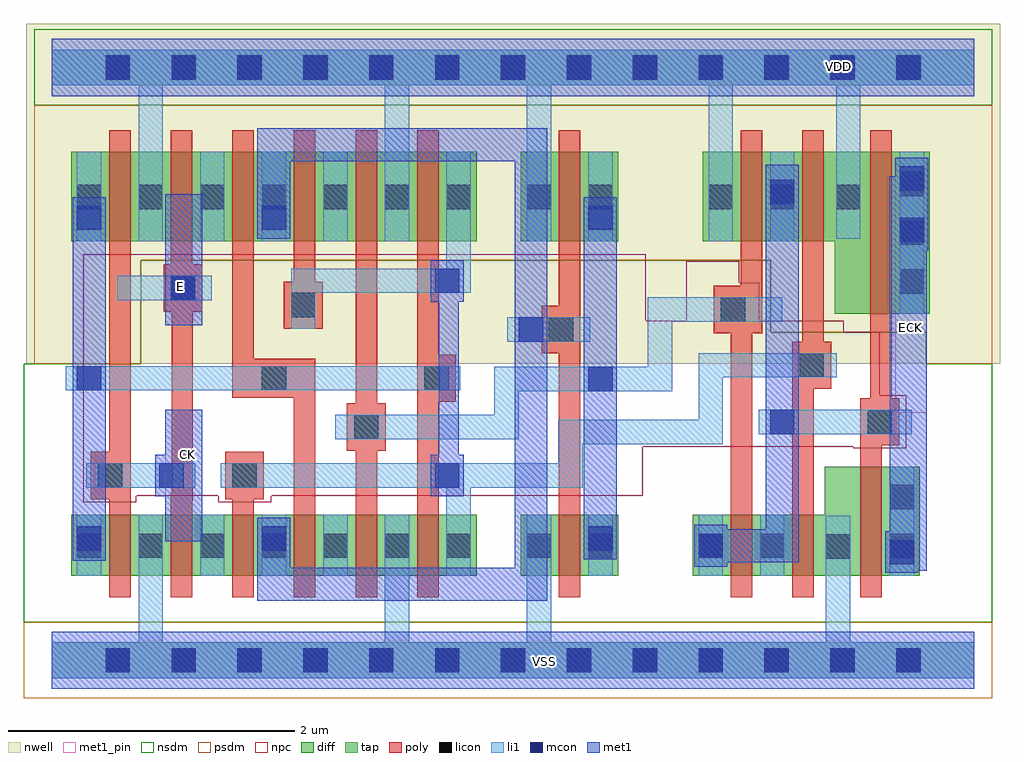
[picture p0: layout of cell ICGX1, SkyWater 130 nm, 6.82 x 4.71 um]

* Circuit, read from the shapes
.subckt ICGX1 CK E ECK VDD VSS
XM1 VSS CK n1 VSS sky130_fd_pr__nfet_01v8 w=0.425 l=0.15
XM2 n2 E VSS VSS sky130_fd_pr__nfet_01v8 w=0.425 l=0.15
XM3 n3 n4 n2 VSS sky130_fd_pr__nfet_01v8 w=0.425 l=0.15
XM4 n5 n1 n3 VSS sky130_fd_pr__nfet_01v8 w=0.425 l=0.15
XM5 VSS n6 n5 VSS sky130_fd_pr__nfet_01v8 w=0.425 l=0.15
XM6 n4 n1 VSS VSS sky130_fd_pr__nfet_01v8 w=0.425 l=0.15
XM7 n6 n3 VSS VSS sky130_fd_pr__nfet_01v8 w=0.425 l=0.15
XM8 n7 n6 n8 VSS sky130_fd_pr__nfet_01v8 w=0.425 l=0.15
XM9 VSS n4 n7 VSS sky130_fd_pr__nfet_01v8 w=0.425 l=0.15
XM10 ECK n8 VSS VSS sky130_fd_pr__nfet_01v8 w=0.76 l=0.15
XM11 VDD CK n1 VDD sky130_fd_pr__pfet_01v8 w=0.625 l=0.15
XM12 n9 E VDD VDD sky130_fd_pr__pfet_01v8 w=0.625 l=0.15
XM13 n3 n1 n9 VDD sky130_fd_pr__pfet_01v8 w=0.625 l=0.15
XM14 n10 n4 n3 VDD sky130_fd_pr__pfet_01v8 w=0.625 l=0.15
XM15 VDD n6 n10 VDD sky130_fd_pr__pfet_01v8 w=0.625 l=0.15
XM16 n4 n1 VDD VDD sky130_fd_pr__pfet_01v8 w=0.625 l=0.15
XM17 n6 n3 VDD VDD sky130_fd_pr__pfet_01v8 w=0.625 l=0.15
XM18 n8 n6 VDD VDD sky130_fd_pr__pfet_01v8 w=0.625 l=0.15
XM19 VDD n4 n8 VDD sky130_fd_pr__pfet_01v8 w=0.625 l=0.15
XM20 ECK n8 VDD VDD sky130_fd_pr__pfet_01v8 w=1.13 l=0.15
.ends

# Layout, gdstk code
from math import pi, radians
import gdstk
lib = gdstk.Library(unit=1e-6, precision=1e-09)
def R(c, l, rs):  # rectangles x0, y0, x1, y1
    for r in rs: c.add(gdstk.rectangle(r[:2], r[2:], *l))
def A(c, l, x, y, w, h, nx, ny, dx, dy):  # array of equal rectangles
    R(c, l, [(x+i*dx, y+j*dy, x+i*dx+w, y+j*dy+h) for i in range(nx) for j in range(ny)])
def P(c, l, *ps):  # polygons
    for p in ps: c.add(gdstk.Polygon(p, *l))
nwell = (64, 20)
diff = (65, 20)
tap = (65, 44)
poly = (66, 20)
licon = (66, 44)
li1 = (67, 20)
mcon = (67, 44)
met1_pin = (68, 16)
met1 = (68, 20)
nsdm = (93, 44)
psdm = (94, 20)
npc = (95, 20)

pyl1con_c_cdns_751554744 = lib.new_cell('PYL1CON_C_CDNS_751554744751')
R(pyl1con_c_cdns_751554744, poly, [(-0.135,-0.165,0.135,0.165)])
R(pyl1con_c_cdns_751554744, licon, [(-0.085,-0.085,0.085,0.085)])
R(pyl1con_c_cdns_751554744, npc, [(-0.185,-0.185,0.185,0.185)])

l1m1_c_cdns_751554744750 = lib.new_cell('L1M1_C_CDNS_751554744750')
R(l1m1_c_cdns_751554744750, li1, [(-0.165,-0.085,0.165,0.085)])
R(l1m1_c_cdns_751554744750, mcon, [(-0.085,-0.085,0.085,0.085)])
R(l1m1_c_cdns_751554744750, met1, [(-0.115,-0.145,0.115,0.145)])

l1m1_c_cdns_751554744752 = lib.new_cell('L1M1_C_CDNS_751554744752')
R(l1m1_c_cdns_751554744752, li1, [(-0.085,-0.345,0.085,0.345)])
R(l1m1_c_cdns_751554744752, mcon, [(-0.085,-0.265,0.085,-0.095), (-0.085,0.095,0.085,0.265)])
R(l1m1_c_cdns_751554744752, met1, [(-0.115,-0.325,0.115,0.325)])

l1m1_c_cdns_751554744753 = lib.new_cell('L1M1_C_CDNS_751554744753')
R(l1m1_c_cdns_751554744753, li1, [(-0.085,-0.165,0.085,0.165)])
R(l1m1_c_cdns_751554744753, mcon, [(-0.085,-0.085,0.085,0.085)])
R(l1m1_c_cdns_751554744753, met1, [(-0.115,-0.145,0.115,0.145)])

c_pyl1con_c_cdns_751554744 = lib.new_cell('PYL1CON_C_CDNS_751554744754')
R(c_pyl1con_c_cdns_751554744, poly, [(-0.135,-0.29,0.135,0.29)])
R(c_pyl1con_c_cdns_751554744, licon, [(-0.085,-0.085,0.085,0.085)])
R(c_pyl1con_c_cdns_751554744, npc, [(-0.185,-0.185,0.185,0.185)])

licondiff_c_cdns_7515547 = lib.new_cell('LICONDIFF_C_CDNS_751554744755')
R(licondiff_c_cdns_7515547, diff, [(-0.125,-0.145,0.125,0.145)])
R(licondiff_c_cdns_7515547, licon, [(-0.085,-0.085,0.085,0.085), (-0.085,-0.085,0.085,0.085)])

lilicon_c_cdns_751554744 = lib.new_cell('LILICON_C_CDNS_751554744756')
R(lilicon_c_cdns_751554744, licon, [(-0.085,-0.085,0.085,0.085), (-0.085,-0.085,0.085,0.085)])
R(lilicon_c_cdns_751554744, li1, [(-0.085,-0.165,0.085,0.165)])

icgx1 = lib.new_cell('ICGX1')
R(icgx1, nwell, [(-0.18,2.07,6.62,4.445)])
R(icgx1, diff, [(0.135,0.59,2.965,1.015), (3.275,0.59,3.955,1.015), (0.135,2.925,2.965,3.55), (3.275,2.925,3.955,3.55)])
P(icgx1, diff, [(6.06,1.35),(5.395,1.35),(5.395,1.015),(4.475,1.015),(4.475,0.59),(6.06,0.59)],
  [(6.13,3.55),(4.545,3.55),(4.545,2.925),(5.465,2.925),(5.465,2.42),(6.13,2.42)])
R(icgx1, poly, [(0.4,0.44,0.55,3.7), (1.26,0.44,1.41,1.165), (2.12,0.44,2.27,3.7), (2.55,0.44,2.7,3.7), (3.54,0.44,3.69,3.7), (1.69,2.51,1.84,3.7)])
P(icgx1, poly, [(0.985,2.78),(0.98,2.78),(0.98,3.7),(0.83,3.7),(0.83,2.725),(0.835,2.725),(0.835,1.165),(0.83,1.165),(0.83,0.44),(0.98,0.44),(0.98,1.11),(0.985,1.11)],
  [(1.84,2.045),(1.41,2.045),(1.41,3.7),(1.26,3.7),(1.26,1.895),(1.69,1.895),(1.69,0.44),(1.84,0.44)],
  [(4.96,3.7),(4.81,3.7),(4.81,2.615),(4.74,2.615),(4.74,0.44),(4.89,0.44),(4.89,2.285),(4.96,2.285)],
  [(5.39,3.7),(5.24,3.7),(5.24,2.18),(5.17,2.18),(5.17,0.44),(5.32,0.44),(5.32,2.025),(5.35,2.025),(5.39,2.065)],
  [(5.865,3.7),(5.715,3.7),(5.715,1.5),(5.645,1.5),(5.645,0.44),(5.795,0.44),(5.795,1.5),(5.865,1.5)])
A(icgx1, licon, 0.375, -0.085, 0.17, 0.17, 13, 2, 0.46, 4.14)
A(icgx1, licon, 0.175, 0.715, 0.17, 0.17, 7, 2, 0.43, 2.435)
A(icgx1, licon, 5.92, 2.56, 0.17, 0.17, 1, 3, 0, 0.34)
R(icgx1, licon, [(3.315,0.715,3.485,0.885), (3.745,0.715,3.915,0.885), (4.515,0.715,4.685,0.885), (4.945,0.715,5.115,0.885), (5.85,0.715,6.02,0.885), (5.85,1.055,6.02,1.225), (3.315,3.15,3.485,3.32), (3.745,3.15,3.915,3.32), (4.585,3.15,4.755,3.32), (5.015,3.15,5.185,3.32)])
A(icgx1, li1, 1.035, 0.59, 0.17, 0.425, 3, 1, 0.43, 0)
A(icgx1, li1, 1.035, 2.925, 0.17, 0.625, 3, 1, 0.43, 0)
R(icgx1, li1, [(0.175,0.59,0.345,1.015), (3.745,0.59,3.915,1.015), (4.515,0.59,4.685,1.015), (4.945,0.59,5.115,1.015), (5.85,0.59,6.02,1.35), (5.92,2.42,6.09,3.55), (0.175,2.925,0.345,3.55), (3.745,2.925,3.915,3.55), (5.015,2.925,5.185,3.55)])
P(icgx1, li1, [(5.48,2.145),(4.515,2.145),(4.515,1.68),(3.535,1.68),(3.535,1.375),(2.88,1.375),(2.88,1.29),(2.825,1.29),(2.825,1.375),(1.18,1.375),(1.18,1.205),(2.755,1.205),(2.755,0.59),(2.925,0.59),(2.925,1.205),(3.705,1.205),(3.705,1.51),(4.685,1.51),(4.685,1.975),(5.48,1.975)],
  [(6.44,4.265),(0,4.265),(0,4.015),(0.605,4.015),(0.605,2.925),(0.775,2.925),(0.775,4.015),(2.325,4.015),(2.325,2.925),(2.495,2.925),(2.495,4.015),(3.315,4.015),(3.315,2.925),(3.485,2.925),(3.485,4.015),(4.585,4.015),(4.585,2.925),(4.755,2.925),(4.755,4.015),(5.475,4.015),(5.475,2.945),(5.645,2.945),(5.645,4.015),(6.44,4.015)],
  [(6.44,0.125),(5.575,0.125),(5.575,1.01),(5.405,1.01),(5.405,0.125),(3.485,0.125),(3.485,1.015),(3.315,1.015),(3.315,0.125),(2.495,0.125),(2.495,1.015),(2.325,1.015),(2.325,0.125),(0.775,0.125),(0.775,1.015),(0.605,1.015),(0.605,0.125),(0,0.125),(0,-0.125),(6.44,-0.125)],
  [(2.925,3.55),(2.755,3.55),(2.755,2.735),(1.67,2.735),(1.67,2.315),(1.84,2.315),(1.84,2.565),(2.79,2.565),(2.79,2.65),(2.925,2.65)])
A(icgx1, mcon, 0.375, -0.085, 0.17, 0.17, 13, 2, 0.46, 4.14)
R(icgx1, met1_pin, [(0,-0.2,6.44,0.2), (0.79,0.83,1.05,1.75), (5.89,1.73,6.11,3.51), (0.79,2.34,1.05,3.255), (0,3.94,6.44,4.34)])
R(icgx1, met1, [(0.79,0.83,1.05,1.75), (0.79,2.34,1.05,3.255)])
P(icgx1, met1, [(6.11,3.38),(5.85,3.38),(5.85,0.885),(5.835,0.885),(5.835,0.625),(6.11,0.625)])
R(icgx1, nsdm, [(-0.125,3.875,6.565,4.405)])
P(icgx1, nsdm, [(6.565,2.07),(6.105,2.07),(6.105,2.29),(5.02,2.29),(5.02,2.795),(0.62,2.795),(0.62,2.07),(-0.195,2.07),(-0.195,0.265),(6.565,0.265)])
R(icgx1, psdm, [(-0.195,-0.265,6.565,0.265)])
P(icgx1, psdm, [(6.565,3.875),(-0.125,3.875),(-0.125,2.07),(0.62,2.07),(0.62,2.795),(5.02,2.795),(5.02,2.29),(6.105,2.29),(6.105,2.07),(6.565,2.07)])
P(icgx1, npc, [(5.78,2.295),(5.53,2.295),(5.53,2.37),(4.8,2.37),(4.8,2.785),(4.43,2.785),(4.43,2.37),(4.145,2.37),(4.145,2.835),(0.22,2.835),(0.22,1.15),(4.125,1.15),(4.125,1.49),(5.78,1.49)])
icgx1.add(gdstk.FlexPath([(3.345,2.31),(3.76,2.31)], 0.17, ends="flush", simple_path=True, layer=67, datatype=20))  # li1
icgx1.add(gdstk.FlexPath([(0.19,1.97),(2.85,1.97)], 0.17, ends="flush", simple_path=True, layer=67, datatype=20))  # li1
icgx1.add(gdstk.FlexPath([(5.1,2.45),(4.245,2.45),(4.245,1.965),(3.175,1.965),(3.175,1.63),(1.98,1.63)], 0.17, ends="flush", simple_path=True, layer=67, datatype=20))  # li1
icgx1.add(gdstk.FlexPath([(6.005,1.665),(5.135,1.665)], 0.17, ends="flush", simple_path=True, layer=67, datatype=20))  # li1
icgx1.add(gdstk.FlexPath([(0.24,1.29),(0.785,1.29)], 0.17, ends="flush", simple_path=True, layer=67, datatype=20))  # li1
icgx1.add(gdstk.FlexPath([(0.455,2.6),(1.115,2.6)], 0.17, ends="flush", simple_path=True, layer=67, datatype=20))  # li1
icgx1.add(gdstk.FlexPath([(0,4.14),(6.44,4.14)], 0.25, ends="flush", simple_path=True, layer=65, datatype=44))  # tap
icgx1.add(gdstk.FlexPath([(0,0),(6.44,0)], 0.25, ends="flush", simple_path=True, layer=65, datatype=44))  # tap
icgx1.add(gdstk.FlexPath([(0,0),(6.44,0)], 0.4, ends="flush", simple_path=True, layer=68, datatype=20))  # met1
icgx1.add(gdstk.FlexPath([(4.635,0.8),(5.1,0.8),(5.1,3.345)], 0.23, ends=(0, 0.115), simple_path=True, layer=68, datatype=20))  # met1
icgx1.add(gdstk.FlexPath([(0,4.14),(6.44,4.14)], 0.4, ends="flush", simple_path=True, layer=68, datatype=20))  # met1
icgx1.add(gdstk.FlexPath([(0.26,0.695),(0.26,3.225)], 0.23, ends="flush", simple_path=True, layer=68, datatype=20))  # met1
icgx1.add(gdstk.FlexPath([(3.83,0.705),(3.83,3.235)], 0.23, ends="flush", simple_path=True, layer=68, datatype=20))  # met1
icgx1.add(gdstk.FlexPath([(2.77,2.72),(2.77,1.225)], 0.14, ends="flush", simple_path=True, layer=68, datatype=20))  # met1
icgx1.add(gdstk.FlexPath([(1.55,3.09),(1.55,3.6),(3.345,3.6),(3.345,0.53),(1.55,0.53),(1.55,0.85)], 0.23, ends="flush", simple_path=True, layer=68, datatype=20))  # met1
icgx1.add(gdstk.Reference(pyl1con_c_cdns_751554744, (2.685,1.97)))
icgx1.add(gdstk.Reference(pyl1con_c_cdns_751554744, (1.345,1.29), x_reflection=True))
icgx1.add(gdstk.Reference(pyl1con_c_cdns_751554744, (5.305,2.06), rotation=pi, x_reflection=True))
icgx1.add(gdstk.Reference(pyl1con_c_cdns_751554744, (5.78,1.665)))
icgx1.add(gdstk.Reference(pyl1con_c_cdns_751554744, (4.755,2.45), rotation=pi, x_reflection=True))
icgx1.add(gdstk.Reference(pyl1con_c_cdns_751554744, (1.755,2.48), rotation=pi))
icgx1.add(gdstk.Reference(pyl1con_c_cdns_751554744, (0.915,2.6), x_reflection=True))
icgx1.add(gdstk.Reference(pyl1con_c_cdns_751554744, (0.405,1.29), rotation=pi))
icgx1.add(gdstk.Reference(pyl1con_c_cdns_751554744, (3.555,2.31), x_reflection=True))
icgx1.add(gdstk.Reference(pyl1con_c_cdns_751554744, (2.195,1.63), rotation=pi))
icgx1.add(gdstk.Reference(l1m1_c_cdns_751554744750, (5.1,1.665), rotation=pi, x_reflection=True))
icgx1.add(gdstk.Reference(l1m1_c_cdns_751554744750, (2.76,2.65)))
icgx1.add(gdstk.Reference(l1m1_c_cdns_751554744750, (3.83,1.965)))
icgx1.add(gdstk.Reference(l1m1_c_cdns_751554744750, (0.915,2.6), x_reflection=True))
icgx1.add(gdstk.Reference(l1m1_c_cdns_751554744750, (2.76,1.29)))
icgx1.add(gdstk.Reference(l1m1_c_cdns_751554744750, (0.835,1.29), x_reflection=True))
icgx1.add(gdstk.Reference(l1m1_c_cdns_751554744750, (0.26,1.97), rotation=pi, x_reflection=True))
icgx1.add(gdstk.Reference(l1m1_c_cdns_751554744750, (3.345,2.31)))
icgx1.add(gdstk.Reference(l1m1_c_cdns_751554744752, (6.005,3.185)))
icgx1.add(gdstk.Reference(l1m1_c_cdns_751554744753, (5.1,3.27)))
icgx1.add(gdstk.Reference(l1m1_c_cdns_751554744753, (5.935,0.755)))
icgx1.add(gdstk.Reference(l1m1_c_cdns_751554744753, (1.55,3.09), rotation=pi, x_reflection=True))
icgx1.add(gdstk.Reference(l1m1_c_cdns_751554744753, (1.55,0.85), rotation=pi, x_reflection=True))
icgx1.add(gdstk.Reference(l1m1_c_cdns_751554744753, (3.83,0.85), rotation=pi, x_reflection=True))
icgx1.add(gdstk.Reference(l1m1_c_cdns_751554744753, (3.83,3.09), rotation=pi, x_reflection=True))
icgx1.add(gdstk.Reference(l1m1_c_cdns_751554744753, (0.26,0.85), rotation=pi, x_reflection=True))
icgx1.add(gdstk.Reference(l1m1_c_cdns_751554744753, (0.26,3.09), rotation=pi, x_reflection=True))
icgx1.add(gdstk.Reference(l1m1_c_cdns_751554744753, (4.6,0.8)))
icgx1.add(gdstk.Reference(c_pyl1con_c_cdns_751554744, (1.55,1.97), rotation=pi/2, x_reflection=True))
icgx1.add(gdstk.Reference(licondiff_c_cdns_7515547, (5.56,3.235)))
icgx1.add(gdstk.Reference(licondiff_c_cdns_7515547, (5.49,0.795)))
icgx1.add(gdstk.Reference(licondiff_c_cdns_7515547, (4.6,0.8)))
icgx1.add(gdstk.Reference(lilicon_c_cdns_751554744, (5.78,1.665), rotation=pi/2))
icgx1.add(gdstk.Label('ECK', (5.995,2.325), layer=68, texttype=5))
icgx1.add(gdstk.Label('CK', (0.945,1.435), layer=68, texttype=5))
icgx1.add(gdstk.Label('VSS', (3.44,-0.005), layer=68, texttype=5))
icgx1.add(gdstk.Label('E', (0.895,2.61), layer=68, texttype=5))
icgx1.add(gdstk.Label('VDD', (5.49,4.145), layer=68, texttype=5))

lib.write_gds('ICGX1.gds')
